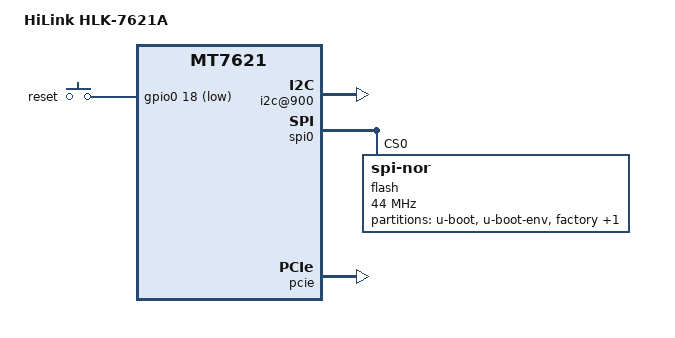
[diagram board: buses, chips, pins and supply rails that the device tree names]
// SPDX-License-Identifier: GPL-2.0-or-later
/dts-v1/;

#include "mt7621.dtsi"

#include <dt-bindings/gpio/gpio.h>
#include <dt-bindings/input/input.h>

/ {
	compatible = "hilink,hlk-7621a", "mediatek,mt7621-soc";
	model = "HiLink HLK-7621A";

	chosen {
		bootargs = "console=ttyS0,115200";
	};

	palmbus: palmbus@1E000000 {
		i2c@900 {
			status = "okay";
		};
	};

	keys {
		compatible = "gpio-keys";

		reset {
			label = "reset";
			gpios = <&gpio0 18 GPIO_ACTIVE_LOW>;
			linux,code = <KEY_RESTART>;
		};
	};

};

&spi0 {
	status = "okay";

	flash@0 {
		compatible = "jedec,spi-nor";
		reg = <0>;
		spi-max-frequency = <44000000>;

		partitions {
			compatible = "fixed-partitions";
			#address-cells = <1>;
			#size-cells = <1>;

			partition@0 {
				label = "u-boot";
				reg = <0x0 0x30000>;
				read-only;
			};

			partition@30000 {
				label = "u-boot-env";
				reg = <0x30000 0x10000>;
				read-only;
			};

			factory: partition@40000 {
				label = "factory";
				reg = <0x40000 0x10000>;
				read-only;
			};

			partition@50000 {
				compatible = "denx,uimage";
				label = "firmware";
				reg = <0x50000 0x1fb0000>;
			};
		};
	};
};

&pcie {
	status = "okay";
};

&ethernet {
	mtd-mac-address = <&factory 0xe000>;
};

&pinctrl {
	state_default: pinctrl0 {
		gpio {
			ralink,group = "wdt", "rgmii2", "jtag", "mdio";
			ralink,function = "gpio";
		};
	};
};
